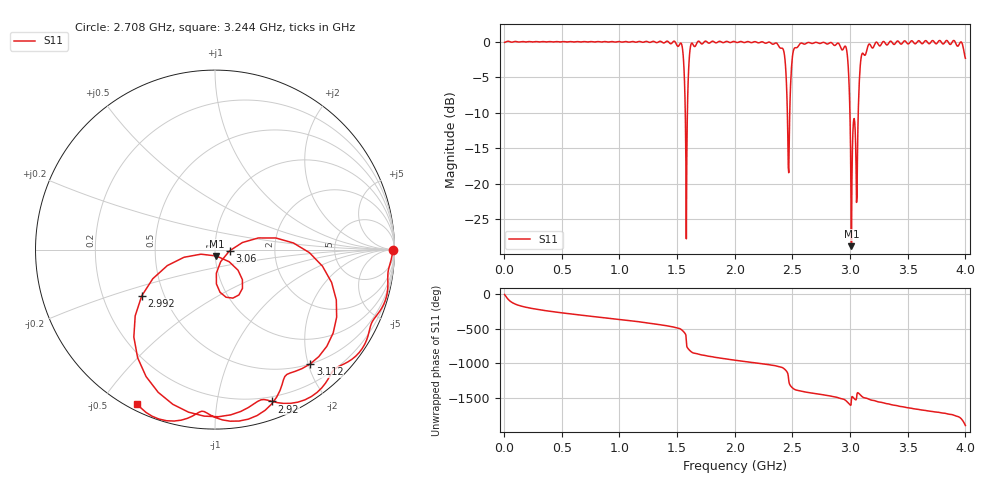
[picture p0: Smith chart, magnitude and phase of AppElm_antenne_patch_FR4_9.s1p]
! TOUCHSTONE file generated by CST MICROWAVE STUDIO
! Date and time: Tue Jun 14 13:48:57 2022
! Project name: AppElm_antenne_patch_FR4.cst
! Parameters = {L=45; W=58.5; e=0.035; h=1.6; lambda=0.190476; ls=120; w0=2.54; w1=0.847; ws=120; y0=18; y1=27.37}
! Header version: 2018
! Port assignment regex: !\s*Touchstone port\s*([0-9]+)\s*=\s*(CST MWS port|CST DS port)\s*([0-9]+|Zmin|Zmax)\s*\(\"(.*)\"\)(\s*mode\s*([0-9]+))?.*
! Touchstone port assignment:
! Touchstone port 1 = CST MWS port 1 ("")
# GHz S MA R 50
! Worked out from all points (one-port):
!   1000 points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, 4 MHz to 4 GHz, reference 50 ohm
!   lowest |S11| = -28.8 dB at 3.012 GHz (marker M1), VSWR 1.08, Z = 50.7 - j3.61 ohm
!   |S11| at or under -10 dB: 1.571 GHz to 1.589 GHz (18.55 MHz wide, 1.17 % of centre); 2.456 GHz to 2.477 GHz (20.78 MHz wide, 0.842 % of centre); 2.998 GHz to 3.071 GHz (72.47 MHz wide, 2.39 % of centre)
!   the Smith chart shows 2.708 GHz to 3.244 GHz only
!   S11 on the Smith chart (normalised r, x): 2.708 GHz: open; 2.92 GHz: 0.16, -1.43; 2.992 GHz: 0.37, -0.25; 3.06 GHz: 1.18, -0.02; 3.112 GHz: 0.50, -2.04; 3.244 GHz: 0.03, -0.62
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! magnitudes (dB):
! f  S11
! 4 MHz  -0.1
! 504 MHz  0.0
! 1.004 GHz  0.0
! 1.504 GHz  -0.6
! 1.544 GHz  -0.7
! 1.564 GHz  -5.5
! 1.58 GHz  -27.7
! 1.612 GHz  -1.1
! 1.628 GHz  -0.2
! 2.004 GHz  0.0
! 2.408 GHz  -0.9
! 2.432 GHz  -2.0
! 2.452 GHz  -7.6
! 2.468 GHz  -18.4
! 2.504 GHz  -1.6
! 2.708 GHz  -0.1
! 2.92 GHz  -0.9
! 2.968 GHz  -1.0
! 2.984 GHz  -3.6
! 2.992 GHz  -6.3
! 3.004 GHz  -15.0
! 3.012 GHz  -28.8
! 3.06 GHz  -21.8
! 3.092 GHz  -2.7
! 3.112 GHz  -1.6
! 3.244 GHz  -0.3
! 3.504 GHz  -0.3
! 4 GHz  -2.3
